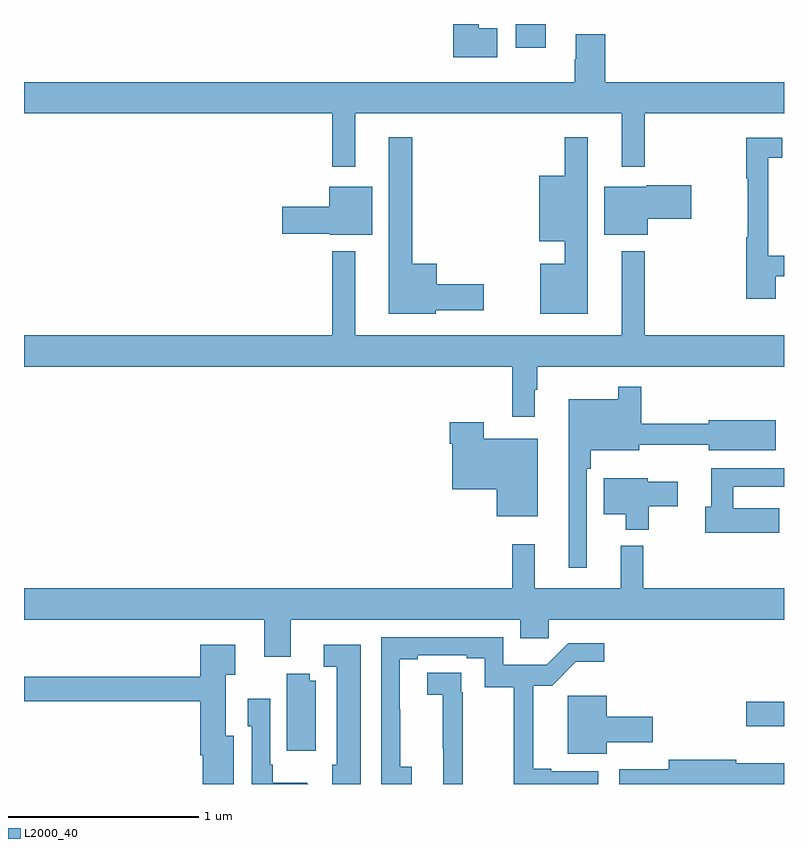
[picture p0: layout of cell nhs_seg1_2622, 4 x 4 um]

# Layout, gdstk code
import gdstk
lib = gdstk.Library(unit=1e-6, precision=1e-09)
def R(c, l, rs):  # rectangles x0, y0, x1, y1
    for r in rs: c.add(gdstk.rectangle(r[:2], r[2:], *l))
def P(c, l, *ps):  # polygons
    for p in ps: c.add(gdstk.Polygon(p, *l))
L2000_40 = (2000, 40)

nhs_seg1_2622 = lib.new_cell('nhs_seg1_2622')
R(nhs_seg1_2622, L2000_40, [(256.8,552.503,257,552.633), (255.587,556.074,255.745,556.199)])
P(nhs_seg1_2622, L2000_40, [(255.49,556.177),(255.394,556.177),(255.394,556.199),(255.26,556.199),(255.26,556.025),(255.49,556.025)],
  [(254.743,555.728),(256.145,555.728),(256.145,555.447),(256.267,555.447),(256.267,555.728),(257,555.728),(257,555.892),(256.058,555.892),(256.058,556.144),(255.905,556.144),(255.905,556.013),(255.898,556.013),(255.898,555.892),(253,555.892),(253,555.728),(254.622,555.728),(254.622,555.447),(254.743,555.447)],
  [(255.967,555.604),(255.846,555.604),(255.846,555.4),(255.713,555.4),(255.713,555.056),(255.846,555.056),(255.846,554.938),(255.716,554.938),(255.716,554.675),(255.967,554.675)],
  [(255.168,554.693),(255.421,554.693),(255.421,554.828),(255.172,554.828),(255.172,554.938),(255.043,554.938),(255.043,555.604),(254.921,555.604),(254.921,554.675),(255.168,554.675)],
  [(256.957,554.871),(257,554.871),(257,554.979),(256.917,554.979),(256.917,555.495),(256.99,555.495),(256.99,555.601),(256.801,555.601),(256.801,555.388),(256.809,555.388),(256.809,555.076),(256.801,555.076),(256.801,554.754),(256.957,554.754)],
  [(256.282,555.173),(256.513,555.173),(256.513,555.351),(256.278,555.351),(256.278,555.343),(256.055,555.343),(256.055,555.089),(256.282,555.089)],
  [(254.833,555.343),(254.606,555.343),(254.606,555.237),(254.358,555.237),(254.358,555.095),(254.61,555.095),(254.61,555.089),(254.833,555.089)],
  [(255.688,554.273),(255.7,554.273),(255.7,554.396),(257,554.396),(257,554.56),(256.267,554.56),(256.267,555.004),(256.145,555.004),(256.145,554.56),(254.743,554.56),(254.743,555.004),(254.622,555.004),(254.622,554.56),(253,554.56),(253,554.396),(255.571,554.396),(255.571,554.133),(255.688,554.133)],
  [(255.963,553.859),(255.983,553.859),(255.983,553.955),(256.237,553.955),(256.237,553.985),(256.604,553.985),(256.604,553.955),(256.957,553.955),(256.957,554.113),(256.604,554.113),(256.604,554.095),(256.249,554.095),(256.249,554.29),(256.128,554.29),(256.128,554.224),(255.866,554.224),(255.866,553.338),(255.963,553.338)],
  [(255.703,554.017),(255.42,554.017),(255.42,554.104),(255.242,554.104),(255.242,553.991),(255.254,553.991),(255.254,553.751),(255.488,553.751),(255.488,553.607),(255.703,553.607)],
  [(256.975,553.651),(256.733,553.651),(256.733,553.764),(257,553.764),(257,553.86),(256.616,553.86),(256.616,553.659),(256.586,553.659),(256.586,553.522),(256.975,553.522)],
  [(256.288,553.66),(256.441,553.66),(256.441,553.789),(256.284,553.789),(256.284,553.807),(256.052,553.807),(256.052,553.619),(256.166,553.619),(256.166,553.538),(256.288,553.538)],
  [(254.404,553.064),(255.611,553.064),(255.611,552.966),(255.763,552.966),(255.763,553.064),(257,553.064),(257,553.228),(256.259,553.228),(256.259,553.453),(256.142,553.453),(256.142,553.228),(255.689,553.228),(255.689,553.462),(255.571,553.462),(255.571,553.228),(253,553.228),(253,553.064),(254.264,553.064),(254.264,552.87),(254.404,552.87)],
  [(255.04,552.289),(254.979,552.289),(254.979,552.593),(254.977,552.593),(254.977,552.856),(255.073,552.856),(255.073,552.876),(255.329,552.876),(255.329,552.862),(255.426,552.862),(255.426,552.709),(255.577,552.709),(255.577,552.199),(256.023,552.199),(256.023,552.267),(255.775,552.267),(255.775,552.28),(255.68,552.28),(255.68,552.717),(255.779,552.717),(255.905,552.842),(256.054,552.842),(256.054,552.939),(255.864,552.939),(255.751,552.826),(255.522,552.826),(255.522,552.972),(254.88,552.972),(254.88,552.199),(255.04,552.199)],
  [(254.773,552.931),(254.577,552.931),(254.577,552.816),(254.645,552.816),(254.645,552.3),(254.623,552.3),(254.623,552.199),(254.773,552.199)],
  [(254.104,552.454),(254.062,552.454),(254.062,552.775),(254.113,552.775),(254.113,552.931),(253.928,552.931),(253.928,552.763),(253,552.763),(253,552.634),(253.928,552.634),(253.928,552.35),(253.94,552.35),(253.94,552.199),(254.104,552.199)],
  [(255.308,552.683),(255.302,552.683),(255.302,552.785),(255.123,552.785),(255.123,552.67),(255.205,552.67),(255.205,552.387),(255.206,552.387),(255.206,552.199),(255.308,552.199)],
  [(254.536,552.742),(254.504,552.742),(254.504,552.779),(254.384,552.779),(254.384,552.375),(254.536,552.375)],
  [(256.066,552.419),(256.309,552.419),(256.309,552.554),(256.066,552.554),(256.066,552.664),(255.863,552.664),(255.863,552.359),(256.066,552.359)],
  [(254.489,552.205),(254.308,552.205),(254.308,552.301),(254.295,552.301),(254.295,552.649),(254.178,552.649),(254.178,552.504),(254.199,552.504),(254.199,552.199),(254.495,552.199)],
  [(257,552.308),(256.748,552.308),(256.748,552.326),(256.394,552.326),(256.394,552.277),(256.134,552.277),(256.134,552.199),(257,552.199)])

lib.write_gds('nhs_seg1_2622.gds')
